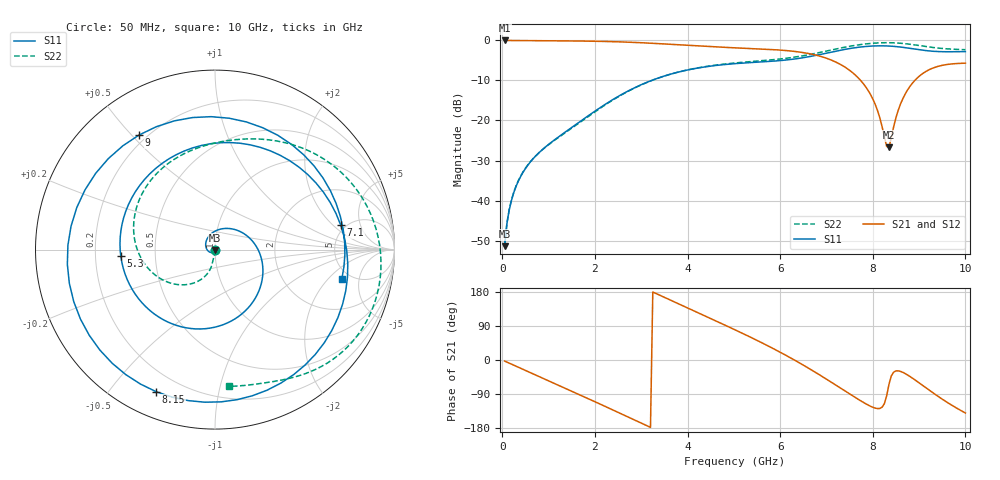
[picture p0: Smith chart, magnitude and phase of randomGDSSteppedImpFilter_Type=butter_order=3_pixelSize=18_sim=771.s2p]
! freq	dB(S11)	phase(S11)	dB(S12)	phase(S12)
!  dB(S21)	phase(S21)	dB(S22)	phase(S22)
!S-par simulation data
#  GHz  S  DB  R 50
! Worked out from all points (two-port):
!   200 points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, 50 MHz to 10 GHz, reference 50 ohm
!   highest |S21| = -0.01 dB at 50 MHz (marker M1); lowest = -26.7 dB at 8.35 GHz (marker M2)
!   |S21| within 3 dB of the highest: start of sweep to 6.48 GHz
!   lowest |S11| = -51.4 dB at 50 MHz (marker M3), VSWR 1.01, Z = 50 - j0.268 ohm
!   |S11| at or under -10 dB: start of sweep to 3.223 GHz
!   |S22| runs from -51.4 to -0.6 dB; largest |S21 - S12| = 0
!   S11 on the Smith chart (normalised r, x): 50 MHz: 1.00, -0.01; 5.3 GHz: 0.31, -0.03; 7.1 GHz: 4.54, +2.51; 8.15 GHz: 0.11, -0.66; 9 GHz: 0.17, +0.52; 10 GHz: 4.23, -2.89
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0.05  -51.40 -85.1  -0.01 -2.8  -0.01 -2.8  -51.40 -80.1
0.2  -39.88 -107.1  -0.02 -11.0  -0.02 -11.0  -39.72 -90.3
0.45  -32.91 -133.6  -0.04 -24.6  -0.04 -24.6  -32.80 -95.3
1.15  -24.65 152.5  -0.09 -62.9  -0.09 -62.9  -24.77 -100.4
1.75  -19.68 88.8  -0.16 -96.1  -0.16 -96.1  -19.86 -102.5
2.65  -13.04 8.2  -0.40 -146.6  -0.40 -146.6  -13.12 -122.5
3.4  -9.26 -47.0  -0.81 170.9  -0.81 170.9  -9.28 -151.8
4.25  -6.84 -103.8  -1.39 123.4  -1.39 123.4  -6.79 170.2
5.05  -5.78 -157.7  -1.86 78.3  -1.86 78.3  -5.60 134.0
5.3  -5.58 -175.9  -1.98 63.7  -1.98 63.7  -5.35 123.0
5.95  -5.08 130.7  -2.37 23.8  -2.37 23.8  -4.70 95.6
6.7  -3.89 55.4  -3.48 -28.0  -3.48 -28.0  -3.38 64.7
7.1  -2.93 11.0  -4.89 -58.3  -4.89 -58.3  -2.39 46.5
7.55  -1.94 -40.5  -7.92 -93.4  -7.92 -93.4  -1.36 23.5
7.85  -1.51 -75.7  -11.63 -115.6  -11.63 -115.6  -0.87 7.2
8.15  -1.34 -112.6  -19.26 -127.9  -19.26 -127.9  -0.60 -9.4
8.35  -1.40 -138.9  -26.69 -64.1  -26.69 -64.1  -0.56 -20.3
8.65  -1.72 178.3  -14.53 -32.7  -14.53 -32.7  -0.75 -35.9
9  -2.32 123.6  -8.97 -60.2  -8.97 -60.2  -1.27 -51.8
9.25  -2.66 83.9  -7.14 -82.3  -7.14 -82.3  -1.69 -61.1
9.55  -2.82 40.2  -6.11 -107.3  -6.11 -107.3  -2.05 -70.7
10  -2.79 -12.9  -5.68 -139.9  -5.68 -139.9  -2.32 -84.3
